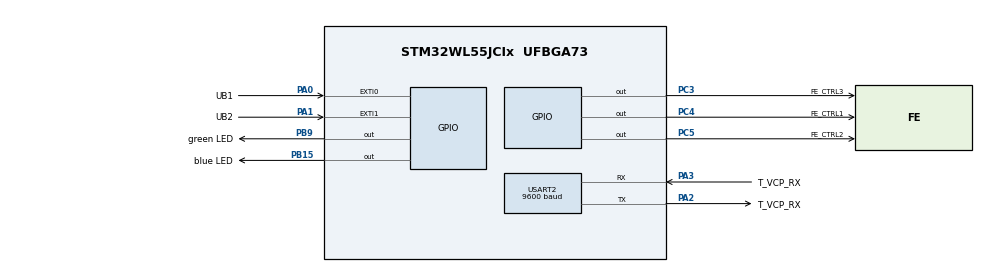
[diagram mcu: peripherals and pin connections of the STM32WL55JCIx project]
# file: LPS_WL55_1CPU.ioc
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Mcu.Family=STM32WL
Mcu.Name=STM32WL55JCIx
Mcu.Package=UFBGA73
NVIC.EXTI0_IRQn=true\:0\:0\:false\:false\:true\:true\:true\:true
NVIC.EXTI1_IRQn=true\:0\:0\:false\:false\:true\:true\:true\:true
NVIC.PriorityGroup=NVIC_PRIORITYGROUP_4
PA0.GPIO_Label=UB1
PA0.GPIO_ModeDefaultEXTI=GPIO_MODE_IT_FALLING
PA0.GPIO_PuPd=GPIO_PULLUP
PA0.Signal=GPXTI0
PA1.GPIO_Label=UB2
PA1.GPIO_ModeDefaultEXTI=GPIO_MODE_IT_FALLING
PA1.GPIO_PuPd=GPIO_PULLUP
PA1.Signal=GPXTI1
PA2.GPIO_Label=T_VCP_RX
PA2.Mode=Asynchronous
PA2.Signal=USART2_TX
PA3.GPIO_Label=T_VCP_RX
PA3.Mode=Asynchronous
PA3.Signal=USART2_RX
PB15.GPIO_Label=blue LED
PB15.Signal=GPIO_Output
PB9.GPIO_Label=green LED
PB9.Signal=GPIO_Output
PC14-OSC32_IN.GPIO_Label=RCC_OSC32_IN
PC14-OSC32_IN.Signal=RCC_OSC32_IN
PC15-OSC32_OUT.GPIO_Label=RCC_OSC32_OUT
PC15-OSC32_OUT.Signal=RCC_OSC32_OUT
PC3.GPIO_Label=FE_CTRL3
PC3.GPIO_Speed=GPIO_SPEED_FREQ_VERY_HIGH
PC3.Signal=GPIO_Output
PC4.GPIO_Label=FE_CTRL1
PC4.GPIO_Speed=GPIO_SPEED_FREQ_VERY_HIGH
PC4.Signal=GPIO_Output
PC5.GPIO_Label=FE_CTRL2
PC5.GPIO_Speed=GPIO_SPEED_FREQ_VERY_HIGH
PC5.Signal=GPIO_Output
ProjectManager.HeapSize=0x200
ProjectManager.StackSize=0x400
ProjectManager.TargetToolchain=STM32CubeIDE
RCC.AHBFreq_Value=48000000
RCC.APB1Freq_Value=48000000
RCC.APB1TimFreq_Value=48000000
RCC.APB2Freq_Value=48000000
RCC.APB2TimFreq_Value=48000000
RCC.APB3Freq_Value=48000000
RCC.CortexFreq_Value=48000000
RCC.HCLKFreq_Value=48000000
RCC.HSE_VALUE=32000000
RCC.HSI_VALUE=16000000
RCC.LSE_VALUE=32768
RCC.PLLN=24
RCC.SYSCLKFreq_VALUE=48000000
RCC.SYSCLKSource=RCC_SYSCLKSOURCE_PLLCLK
RCC.VCOOutputFreq_Value=96000000
USART2.BaudRate=9600
USART2.VirtualMode-Asynchronous=VM_ASYNC
board=NUCLEO-WL55JC1

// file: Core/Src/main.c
/* USER CODE BEGIN Header */
/**
  ******************************************************************************
  * @file           : main.c
  * @brief          : Main program body
  ******************************************************************************
  * @attention
  *
  * Copyright (c) 2025 STMicroelectronics.
  * All rights reserved.
  *
  * This software is licensed under terms that can be found in the LICENSE file
  * in the root directory of this software component.
  * If no LICENSE file comes with this software, it is provided AS-IS.
  *
  ******************************************************************************
  */
/* USER CODE END Header */
#include "main.h"

/* USER CODE BEGIN Includes */
#include <stdio.h>
/* USER CODE END Includes */

UART_HandleTypeDef huart2;

void SystemClock_Config(void);
static void MX_GPIO_Init(void);
static void MX_USART2_UART_Init(void);

/* USER CODE BEGIN 0 */

/**
  * @brief Redirect the output of printf to USART2
  * @retval int
  */
int __io_putchar(int ch){
	HAL_UART_Transmit(&huart2, &ch, 1, 1000);
}

/* @brief Easier way (attempt #2) to reduce / increase HCLK1 frequency by
 * changing the AHB divider, without reconfiguring oscillators or PLL.
 * Assumes SYSCLK is initially set at 48 MHz.
 * Use register-access instructions (according to datasheet guidance),
 * on RCC clock configuration register (RCC_CFGR).
 * @params dividerX accepts the following values:
 * 2, 3, 4, 5, 6, 8, 10, 16, 32, 64, 128, 256, 512.
 * Any other value does not divide SYSCLK (1 does not divide, >512 divides too much,
 * and by default, any unusual value will not divide).
 * @retval None
 */
void Divide_HCLK1_By_X(uint16_t dividerX){
    uint8_t HCLK1_prescaler;
    if (dividerX >= 2 || dividerX <= 512){
      switch(dividerX){
        case 2:   HCLK1_prescaler = 8;    break; // "1000"
        case 3:   HCLK1_prescaler = 1;    break; // "0001"
        case 4:   HCLK1_prescaler = 9;    break; // "1001"
        case 5:   HCLK1_prescaler = 2;    break; // "0010"
        case 6:   HCLK1_prescaler = 5;    break; // "0101"
        case 8:   HCLK1_prescaler = 10;   break; // "1010"
        case 10:  HCLK1_prescaler = 6;    break; // "0110"
        case 16:  HCLK1_prescaler = 11;   break; // "1011"
        case 32:  HCLK1_prescaler = 7;    break; // "0111"
        case 64:  HCLK1_prescaler = 12;   break; // "1100"
        case 128: HCLK1_prescaler = 13;   break; // "1101"
        case 256: HCLK1_prescaler = 14;   break; // "1110"
        case 512: HCLK1_prescaler = 15;   break; // "1111"
        default:  HCLK1_prescaler = 0; break; // "0000", no division
      }
    } else HCLK1_prescaler = 0; // no division

    // Reset the current prescaler value into bits 7 to 4 (HPRE)
    RCC -> CFGR &= ~(0xF << 4);
    // Insert the new prescaler value
    RCC -> CFGR |= (HCLK1_prescaler << 4);
    /* Wait for the hardware to aknowledge the new prescaler value
     * using HCLK1 prescaler flag (HPREF) on bit 16:
     * 0 → HCLK1 prescaler value not yet applied
     * 1 → HCLK1 prescaler value applied (RCC -> CFGR & (1 << 16))
     * OR using LL function `LL_RCC_IsActiveFlag_HPRE(void)`
     */ while(!(LL_RCC_IsActiveFlag_HPRE())){}
}

/** @brief Wakes up the CPU from low power run mode,
  * according to the datasheet guidance.
  * HSE32 is still not used.
  * @params newHCLKFreq is the divider applied to SYSCLK (48 MHz) to increase back
  * HCLK frequency over 2 MHz, can take the following values:
  * 1, 2, 3, 4, 5, 6, 8, 10, 16, 32, 64, 128, 256, 512, but MUST BE lower than 24;
  * e.g. among the nine first values.
  * @retval None
  */
void Exit_LowPowerRunMode(uint8_t newHCLKFreq){
	// 1. Clear the LPR bit in PWR_CR1, and,
	// 2. wait until REGLPF bit is cleared in PWR_SR2.
	HAL_PWREx_DisableLowPowerRunMode();

	// 3. Increase the HCLK clock frequencies over 2 MHz.
	// 48 MHz / X ≥ 2 MHz → X ≤ 24; but 24 is not
	// a usual value of divider (1, 2, 3, 4, 5, 6, 8, 10, 16, 32, 64, 128, 256, 512).
	// So we can take one of the nine lower values, 1 to 16.
	Divide_HCLK1_By_X(newHCLKFreq);
	// (HSE32 is not used here, so we skip this optionnal step.)

	// 4. Reinitialize the USART2 peripheral (since changing the HCLK frequency
	// impacts the related peripherals, such as USART2).
	MX_USART2_UART_Init();
}

/** @brief Makes the CPU into low power sleep mode,
  * according to the datasheet guidance.
  * Assumes we entered LPR beforehand.
  * HSE32 is still not used.
  * @retval None
  */
void Enter_LowPowerSleepMode(void){

	// Reduce HCLK frequency below 2 MHz
	Divide_HCLK1_By_X(32);

	// Suspend the tick to prevent the Tick interrupt every 1 ms
	HAL_SuspendTick();

	HAL_PWR_EnterSLEEPMode(PWR_LOWPOWERREGULATOR_ON, PWR_SLEEPENTRY_WFI);

}

/**
  * @brief Simple software delay (blocking)
  * @param ms: approximate milliseconds to delay (not precise, depends on CPU speed)
  * @retval None
  */
void delay(uint32_t ms)
{
    uint32_t freq = HAL_RCC_GetHCLKFreq();
	uint32_t count = (freq / 4000) * ms; // 4 cycles per loop (approx.)
    while(count--) {
        __NOP();
    }
}

/* USER CODE END 0 */

int main(void)
{

  /* MCU Configuration--------------------------------------------------------*/

  /* Reset of all peripherals, Initializes the Flash interface and the Systick. */
  HAL_Init();

  /* Configure the system clock */
  SystemClock_Config();

  /* Initialize all configured peripherals */
  MX_GPIO_Init();
  MX_USART2_UART_Init();

  /* Infinite loop */
  /* USER CODE BEGIN WHILE */
  	  printf("\r\n\r\nTest d'une appli mode veille sur STM32\r\n");
  while (1)
  {
	  printf("Exécution de la boucle While\r\n");
	  printf("Le µCU entre en mode Low Power Sleep dans 2 secondes.\n\r");
	  __HAL_RCC_USART2_CLK_SLEEP_DISABLE(); // Clock-gating the USART2 peripheral
	  HAL_Delay(2000);

	  Enter_LowPowerSleepMode();	// Enter into Low Power Sleep mode

	  /* ####----####----####----####----####
	   * MCU is running in low power sleep mode
	   * ####----####----####----####----####
	   */
    /* USER CODE END WHILE */

  }
}

void SystemClock_Config(void)
{
  RCC_OscInitTypeDef RCC_OscInitStruct = {0};
  RCC_ClkInitTypeDef RCC_ClkInitStruct = {0};

  /** Configure the main internal regulator output voltage
  */
  __HAL_PWR_VOLTAGESCALING_CONFIG(PWR_REGULATOR_VOLTAGE_SCALE1);

  /** Initializes the CPU, AHB and APB buses clocks
  */
  RCC_OscInitStruct.OscillatorType = RCC_OSCILLATORTYPE_MSI;
  RCC_OscInitStruct.MSIState = RCC_MSI_ON;
  RCC_OscInitStruct.MSICalibrationValue = RCC_MSICALIBRATION_DEFAULT;
  RCC_OscInitStruct.MSIClockRange = RCC_MSIRANGE_6;
  RCC_OscInitStruct.PLL.PLLState = RCC_PLL_ON;
  RCC_OscInitStruct.PLL.PLLSource = RCC_PLLSOURCE_MSI;
  RCC_OscInitStruct.PLL.PLLM = RCC_PLLM_DIV1;
  RCC_OscInitStruct.PLL.PLLN = 24;
  RCC_OscInitStruct.PLL.PLLP = RCC_PLLP_DIV2;
  RCC_OscInitStruct.PLL.PLLR = RCC_PLLR_DIV2;
  RCC_OscInitStruct.PLL.PLLQ = RCC_PLLQ_DIV2;
  if (HAL_RCC_OscConfig(&RCC_OscInitStruct) != HAL_OK)
  {
    Error_Handler();
  }

  /** Configure the SYSCLKSource, HCLK, PCLK1 and PCLK2 clocks dividers
  */
  RCC_ClkInitStruct.ClockType = RCC_CLOCKTYPE_HCLK3|RCC_CLOCKTYPE_HCLK
                              |RCC_CLOCKTYPE_SYSCLK|RCC_CLOCKTYPE_PCLK1
                              |RCC_CLOCKTYPE_PCLK2;
  RCC_ClkInitStruct.SYSCLKSource = RCC_SYSCLKSOURCE_PLLCLK;
  RCC_ClkInitStruct.AHBCLKDivider = RCC_SYSCLK_DIV1;
  RCC_ClkInitStruct.APB1CLKDivider = RCC_HCLK_DIV1;
  RCC_ClkInitStruct.APB2CLKDivider = RCC_HCLK_DIV1;
  RCC_ClkInitStruct.AHBCLK3Divider = RCC_SYSCLK_DIV1;

  if (HAL_RCC_ClockConfig(&RCC_ClkInitStruct, FLASH_LATENCY_2) != HAL_OK)
  {
    Error_Handler();
  }
}

static void MX_USART2_UART_Init(void)
{

  huart2.Instance = USART2;
  huart2.Init.BaudRate = 9600;
  huart2.Init.WordLength = UART_WORDLENGTH_8B;
  huart2.Init.StopBits = UART_STOPBITS_1;
  huart2.Init.Parity = UART_PARITY_NONE;
  huart2.Init.Mode = UART_MODE_TX_RX;
  huart2.Init.HwFlowCtl = UART_HWCONTROL_NONE;
  huart2.Init.OverSampling = UART_OVERSAMPLING_16;
  huart2.Init.OneBitSampling = UART_ONE_BIT_SAMPLE_DISABLE;
  huart2.Init.ClockPrescaler = UART_PRESCALER_DIV1;
  huart2.AdvancedInit.AdvFeatureInit = UART_ADVFEATURE_NO_INIT;
  if (HAL_UART_Init(&huart2) != HAL_OK)
  {
    Error_Handler();
  }
  if (HAL_UARTEx_SetTxFifoThreshold(&huart2, UART_TXFIFO_THRESHOLD_1_8) != HAL_OK)
  {
    Error_Handler();
  }
  if (HAL_UARTEx_SetRxFifoThreshold(&huart2, UART_RXFIFO_THRESHOLD_1_8) != HAL_OK)
  {
    Error_Handler();
  }
  if (HAL_UARTEx_DisableFifoMode(&huart2) != HAL_OK)
  {
    Error_Handler();
  }

}

static void MX_GPIO_Init(void)
{
  GPIO_InitTypeDef GPIO_InitStruct = {0};

  /* GPIO Ports Clock Enable */
  __HAL_RCC_GPIOB_CLK_ENABLE();
  __HAL_RCC_GPIOC_CLK_ENABLE();
  __HAL_RCC_GPIOA_CLK_ENABLE();

  /*Configure GPIO pin Output Level */
  HAL_GPIO_WritePin(GPIOB, blue_LED_Pin|green_LED_Pin, GPIO_PIN_RESET);

  /*Configure GPIO pin Output Level */
  HAL_GPIO_WritePin(GPIOC, FE_CTRL3_Pin|FE_CTRL2_Pin|FE_CTRL1_Pin, GPIO_PIN_RESET);

  /*Configure GPIO pins : blue_LED_Pin green_LED_Pin */
  GPIO_InitStruct.Pin = blue_LED_Pin|green_LED_Pin;
  GPIO_InitStruct.Mode = GPIO_MODE_OUTPUT_PP;
  GPIO_InitStruct.Pull = GPIO_NOPULL;
  GPIO_InitStruct.Speed = GPIO_SPEED_FREQ_LOW;
  HAL_GPIO_Init(GPIOB, &GPIO_InitStruct);

  /*Configure GPIO pins : FE_CTRL3_Pin FE_CTRL2_Pin FE_CTRL1_Pin */
  GPIO_InitStruct.Pin = FE_CTRL3_Pin|FE_CTRL2_Pin|FE_CTRL1_Pin;
  GPIO_InitStruct.Mode = GPIO_MODE_OUTPUT_PP;
  GPIO_InitStruct.Pull = GPIO_NOPULL;
  GPIO_InitStruct.Speed = GPIO_SPEED_FREQ_VERY_HIGH;
  HAL_GPIO_Init(GPIOC, &GPIO_InitStruct);

  /*Configure GPIO pins : UB1_Pin UB2_Pin */
  GPIO_InitStruct.Pin = UB1_Pin|UB2_Pin;
  GPIO_InitStruct.Mode = GPIO_MODE_IT_FALLING;
  GPIO_InitStruct.Pull = GPIO_PULLUP;
  HAL_GPIO_Init(GPIOA, &GPIO_InitStruct);

  /* EXTI interrupt init*/
  HAL_NVIC_SetPriority(EXTI0_IRQn, 0, 0);
  HAL_NVIC_EnableIRQ(EXTI0_IRQn);

  HAL_NVIC_SetPriority(EXTI1_IRQn, 0, 0);
  HAL_NVIC_EnableIRQ(EXTI1_IRQn);

}

/* USER CODE BEGIN 4 */

/** @brief User-defined ISR when pressing user button 1 or 2,
  * text is displayed and LEDs are blinking
  * @retval None
  */
void HAL_GPIO_EXTI_Callback(uint16_t GPIO_Pin){
	/* ####----####----####----####
	 * MCU just woke up from an IT
	 * and is now running in LPR
	 * ####----####----####----####
	 */
	// Resume the tick after stopping it in the while loop
	HAL_ResumeTick();

	// If user button 1 (UB1, on PA0) is pressed, wake up from LPS.
	// Text is displayed, blue LED blinks twice.
	if (GPIO_Pin == UB1_Pin){
		/* ####----####----####
		 * MCU still in LPR
		 * ####----####----####
		 */
		MX_USART2_UART_Init();
		printf("Réveil de LPS par pression du Bouton 1\r\n");
		printf("Actuellement en mode LPR.\r\n");
		printf("Retour en LPS après clignotement de la LED bleue.\r\n\r\n");
		for (int i = 0; i < 4; i++){
			HAL_GPIO_TogglePin(GPIOB, GPIO_PIN_15); delay(200);
		}
	}

	// If user button 2 (UB2, on PA1) is pressed, wake up from LPS & LPR.
	// Text is displayed, green LED blinks twice.
	if (GPIO_Pin == UB2_Pin){
		Exit_LowPowerRunMode(1); // Exit LPR mode before doing anything else; going back to 48 MHz.

		/* ####----####----####
		 * MCU is now in Run mode
		 * ####----####----####
		 */

		MX_USART2_UART_Init();
		printf("Réveil de LPS par pression du Bouton 2\r\n");
		printf("Actuellement en mode Run.\r\n");
		printf("Retour en LPS après clignotement de la LED verte.\r\n\r\n");
		for (int i = 0; i < 4; i++){
			HAL_GPIO_TogglePin(GPIOB, GPIO_PIN_9); delay(200);
		}
	}
}

/* USER CODE END 4 */

void Error_Handler(void)
{
  __disable_irq();
  while (1)
  {
  }
}
